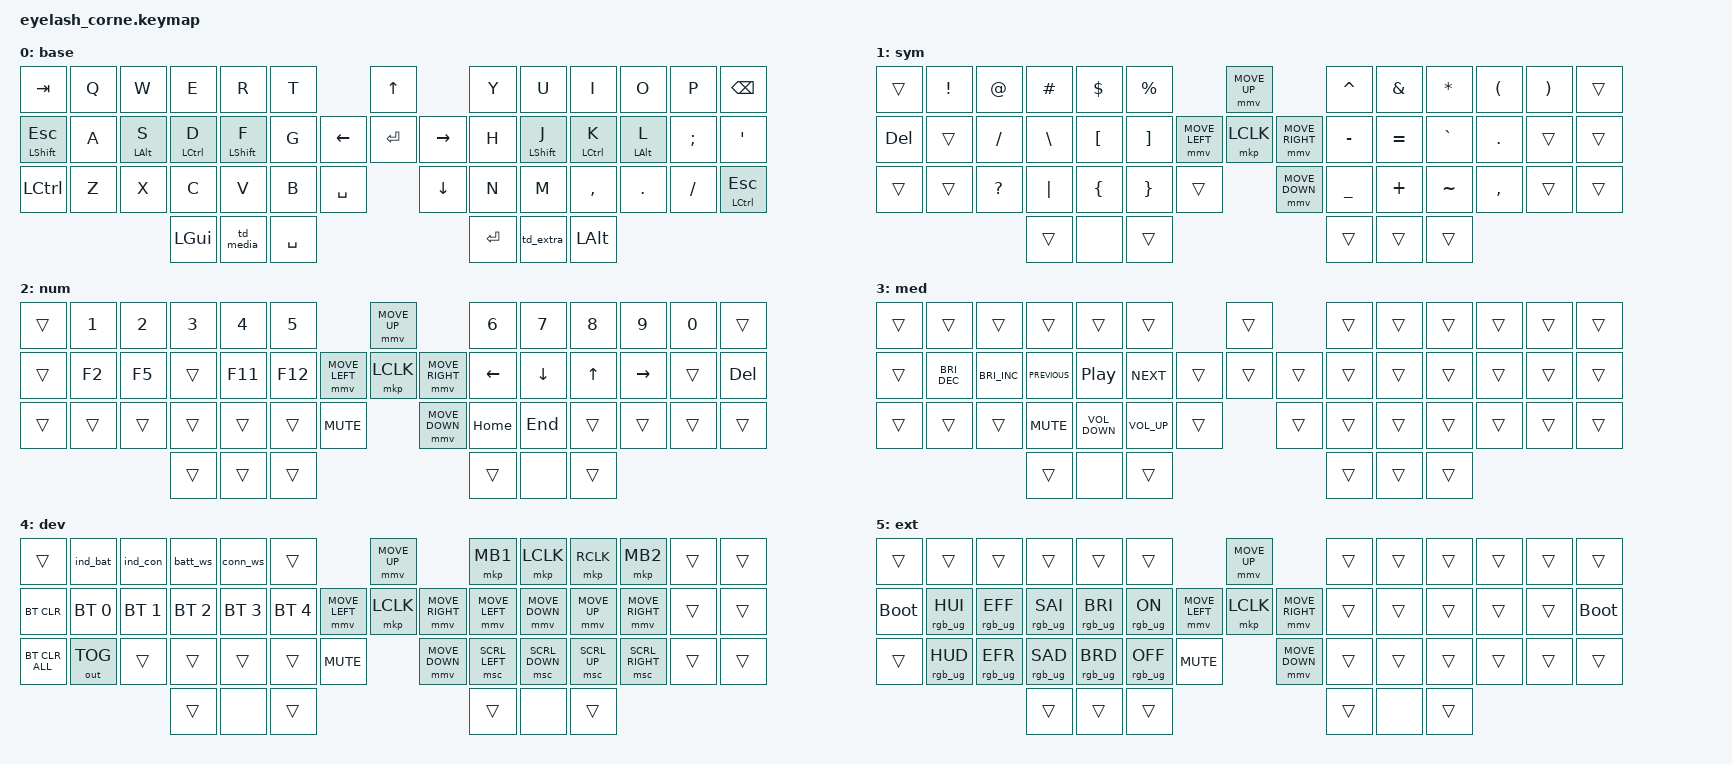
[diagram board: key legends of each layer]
#define ZMK_POINTING_DEFAULT_MOVE_VAL 1200  // 600
#define ZMK_POINTING_DEFAULT_SCRL_VAL 25   // 10

#include <input/processors.dtsi>
#include <zephyr/dt-bindings/input/input-event-codes.h>
#include <behaviors/rgbled_widget.dtsi>
#include <behaviors.dtsi>
#include <dt-bindings/zmk/bt.h>
#include <dt-bindings/zmk/keys.h>
#include <dt-bindings/zmk/outputs.h>
#include <dt-bindings/zmk/pointing.h>
#include <dt-bindings/zmk/rgb.h>

&mmv_input_listener { input-processors = <&zip_xy_scaler 2 1>; };

&msc_input_listener { input-processors = <&zip_scroll_scaler 2 1>; };

&msc {
    delay-ms = <0>;
    time-to-max-speed-ms = <100>;
    acceleration-exponent = <1>;
};

&mmv {
    time-to-max-speed-ms = <500>;
    acceleration-exponent = <1>;
    delay-ms = <0>;
    trigger-period-ms = <16>;
};

/ {
    behaviors {
        hrm_left: hrm_left {
            compatible = "zmk,behavior-hold-tap";
            label = "HRM_LEFT";
            bindings = <&kp>, <&kp>;

            #binding-cells = <2>;
            tapping-term-ms = <245>;
            flavor = "balanced";
            hold-trigger-key-positions = <7 8 9 10 11 12 22 23 24 25 26 27 36 37 38 39 40 41 45 46 47>;
            hold-trigger-on-release;
            require-prior-idle-ms = <125>;
            quick-tap-ms = <160>;
        };

        hrm_right: hrm_right {
            compatible = "zmk,behavior-hold-tap";
            label = "HRM_RIGHT";
            bindings = <&kp>, <&kp>;

            #binding-cells = <2>;
            tapping-term-ms = <245>;
            flavor = "balanced";
            hold-trigger-key-positions = <0 1 2 3 4 5 13 14 15 16 17 18 28 29 30 31 32 33 34 42 43 44>;
            hold-trigger-on-release;
            require-prior-idle-ms = <125>;
            quick-tap-ms = <160>;
        };

        ht_mod: ht_mod {
            compatible = "zmk,behavior-hold-tap";
            label = "HT_MOD";
            bindings = <&kp>, <&kp>;

            #binding-cells = <2>;
            tapping-term-ms = <245>;
            flavor = "balanced";
            require-prior-idle-ms = <110>;
        };

        td_media: td_media {
            compatible = "zmk,behavior-tap-dance";
            label = "TD_MEDIA";
            #binding-cells = <0>;
            bindings = <&mo 1>, <&mo 3>;
        };

        td_extra: td_extra {
            compatible = "zmk,behavior-tap-dance";
            label = "TD_EXTRA";
            #binding-cells = <0>;
            bindings = <&mo 2>, <&mo 5>;
        };

        batt_ws: battery_ws2812 {
            compatible = "zmk,behavior-ws2812-widget";
            indicate-battery;
            #binding-cells = <0>;
        };

        conn_ws: connectivity_ws2812 {
            compatible = "zmk,behavior-ws2812-widget";
            indicate-connectivity;
            #binding-cells = <0>;
        };

        layer_ws: layer_ws2812 {
            compatible = "zmk,behavior-ws2812-widget";
            indicate-layer;
            use-shared;
            #binding-cells = <0>;
        };

        led_pulse: led_pulse_cyan {
            compatible = "zmk,behavior-ws2812-widget";
            led-index = <2>;
            color = <6>;
            pattern-id = <2>;
            duration-ms = <2000>;
            #binding-cells = <0>;
        };

        led_flash: led_flash_red {
            compatible = "zmk,behavior-ws2812-widget";
            led-index = <1>;
            color = <1>;
            pattern-id = <1>;
            duration-ms = <1000>;
            #binding-cells = <0>;
        };
    };

    scroll_encoder: scroll_encoder {
        compatible = "zmk,behavior-sensor-rotate";
        #sensor-binding-cells = <0>;
        bindings = <&msc SCRL_DOWN>, <&msc SCRL_UP>;

        tap-ms = <100>;
    };

    combos {
        compatible = "zmk,combos";

        tab_combo {
            bindings = <&kp TAB>;
            key-positions = <1 2>;
            slow-release;
            layers = <0>;
        };

        home_combo {
            bindings = <&kp HOME>;
            key-positions = <22 23>;
            slow-release;
            layers = <0>;
        };

        end_combo {
            bindings = <&kp END>;
            key-positions = <24 25>;
            slow-release;
            layers = <0>;
        };

        bksp_combo {
            bindings = <&kp BACKSPACE>;
            key-positions = <23 24>;
            slow-release;
            layers = <0>;
        };

        pgdn_combo {
            bindings = <&kp PAGE_DOWN>;
            key-positions = <36 37>;
            slow-release;
            layers = <0>;
        };

        pgup_combo {
            bindings = <&kp PAGE_UP>;
            key-positions = <7 8>;
            slow-release;
        };

        ctrl_w_combo {
            bindings = <&kp LC(W)>;
            key-positions = <2 3>;
            slow-release;
            layers = <0>;
        };

        ctrl_a_combo {
            bindings = <&kp LC(A)>;
            key-positions = <15 16>;
            slow-release;
            layers = <0>;
        };

        enter_combo {
            bindings = <&kp ENTER>;
            key-positions = <17 18>;
            layers = <0>;
            require-prior-idle-ms = <175>;
            slow-release;
        };

        tab_dupl_combo {
            bindings = <&kp TAB>;
            key-positions = <13 1>;
            slow-release;
            layers = <0>;
        };

        ctr_tab_combo {
            bindings = <&kp LC(TAB)>;
            key-positions = <1 2 3>;
            layers = <0>;
            slow-release;
        };

        alt_tab_combo {
            bindings = <&kp LA(TAB)>;
            key-positions = <2 3 4>;
            layers = <0>;
            slow-release;
        };
    };

    keymap {
        compatible = "zmk,keymap";

        base_layer {
            display-name = "base";
            bindings = <
&kp TAB                &kp Q  &kp W                 &kp E                     &kp R                   &kp T                             &kp UP                &kp Y       &kp U                    &kp I                      &kp O                  &kp P          &kp BACKSPACE
&mt LEFT_SHIFT ESCAPE  &kp A  &hrm_left LEFT_ALT S  &hrm_left LEFT_CONTROL D  &hrm_left LEFT_SHIFT F  &kp G                   &kp LEFT  &kp ENTER  &kp RIGHT  &kp H       &hrm_right LEFT_SHIFT J  &hrm_right LEFT_CONTROL K  &hrm_right LEFT_ALT L  &kp SEMICOLON  &kp APOS
&kp LEFT_CONTROL       &kp Z  &kp X                 &kp C                     &kp V                   &kp B      &kp SPACE              &kp DOWN              &kp N       &kp M                    &kp COMMA                  &kp DOT                &kp FSLH       &mt LEFT_CONTROL ESCAPE
                                                    &kp LEFT_GUI              &td_media               &kp SPACE                                               &kp RETURN  &td_extra                &kp LEFT_ALT
            >;
        };

        symbol_layer {
            display-name = "sym";
            bindings = <
&trans   &kp EXCL  &kp AT        &kp HASH       &kp DLLR          &kp PRCNT                                    &mmv MOVE_UP                     &kp CARET  &kp AMPS   &kp ASTRK  &kp LPAR    &kp RPAR  &trans
&kp DEL  &trans    &kp SLASH     &kp BACKSLASH  &kp LEFT_BRACKET  &kp RIGHT_BRACKET            &mmv MOVE_LEFT  &mkp LCLK       &mmv MOVE_RIGHT  &kp MINUS  &kp EQUAL  &kp GRAVE  &kp PERIOD  &trans    &trans
&trans   &trans    &kp QUESTION  &kp PIPE       &kp LEFT_BRACE    &kp RIGHT_BRACE    &trans                    &mmv MOVE_DOWN                   &kp UNDER  &kp PLUS   &kp TILDE  &kp COMMA   &trans    &trans
                                 &trans         &none             &trans                                                                        &trans     &trans     &trans
            >;
        };

        number_layer {
            display-name = "num";
            bindings = <
&trans  &kp N1  &kp N2  &kp N3  &kp N4   &kp N5                                 &mmv MOVE_UP                     &kp N6          &kp N7          &kp N8        &kp N9     &kp N0  &trans
&trans  &kp F2  &kp F5  &trans  &kp F11  &kp F12                &mmv MOVE_LEFT  &mkp LCLK       &mmv MOVE_RIGHT  &kp LEFT_ARROW  &kp DOWN_ARROW  &kp UP_ARROW  &kp RIGHT  &trans  &kp DELETE
&trans  &trans  &trans  &trans  &trans   &trans   &kp C_MUTE                    &mmv MOVE_DOWN                   &kp HOME        &kp END         &trans        &trans     &trans  &trans
                        &trans  &trans   &trans                                                                  &trans          &none           &trans
            >;
        };

        media_layer {
            display-name = "med";
            bindings = <
&trans  &trans                &trans                &trans          &trans             &trans                             &trans          &trans  &trans  &trans  &trans  &trans  &trans
&trans  &kp C_BRIGHTNESS_DEC  &kp C_BRIGHTNESS_INC  &kp C_PREVIOUS  &kp C_PLAY_PAUSE   &kp C_NEXT                 &trans  &trans  &trans  &trans  &trans  &trans  &trans  &trans  &trans
&trans  &trans                &trans                &kp K_MUTE      &kp C_VOLUME_DOWN  &kp C_VOLUME_UP  &trans            &trans          &trans  &trans  &trans  &trans  &trans  &trans
                                                    &trans          &none              &trans                                             &trans  &trans  &trans
            >;
        };

        device_layer {
            display-name = "dev";
            bindings = <
&trans          &ind_bat      &ind_con      &batt_ws      &conn_ws      &trans                                      &mmv MOVE_UP                     &mkp MB1        &mkp LCLK       &mkp RCLK     &mkp MB2         &trans  &trans
&bt BT_CLR      &bt BT_SEL 0  &bt BT_SEL 1  &bt BT_SEL 2  &bt BT_SEL 3  &bt BT_SEL 4                &mmv MOVE_LEFT  &mkp LCLK       &mmv MOVE_RIGHT  &mmv MOVE_LEFT  &mmv MOVE_DOWN  &mmv MOVE_UP  &mmv MOVE_RIGHT  &trans  &trans
&bt BT_CLR_ALL  &out OUT_TOG  &trans        &trans        &trans        &trans        &kp C_MUTE                    &mmv MOVE_DOWN                   &msc SCRL_LEFT  &msc SCRL_DOWN  &msc SCRL_UP  &msc SCRL_RIGHT  &trans  &trans
                                            &trans        &none         &trans                                                                       &trans          &none           &trans
            >;
        };

        extra_layer {
            display-name = "ext";
            bindings = <
&trans       &trans           &trans           &trans           &trans           &trans                                         &mmv MOVE_UP                     &trans  &trans  &trans  &trans  &trans  &trans
&bootloader  &rgb_ug RGB_HUI  &rgb_ug RGB_EFF  &rgb_ug RGB_SAI  &rgb_ug RGB_BRI  &rgb_ug RGB_ON                 &mmv MOVE_LEFT  &mkp LCLK       &mmv MOVE_RIGHT  &trans  &trans  &trans  &trans  &trans  &bootloader
&trans       &rgb_ug RGB_HUD  &rgb_ug RGB_EFR  &rgb_ug RGB_SAD  &rgb_ug RGB_BRD  &rgb_ug RGB_OFF  &kp C_MUTE                    &mmv MOVE_DOWN                   &trans  &trans  &trans  &trans  &trans  &trans
                                               &trans           &trans           &trans                                                                          &trans  &none   &trans
            >;
        };
    };

    conditional_layers {
        compatible = "zmk,conditional-layers";

        device {
            if-layers = <1 2>;
            then-layer = <4>;
        };
    };
};
